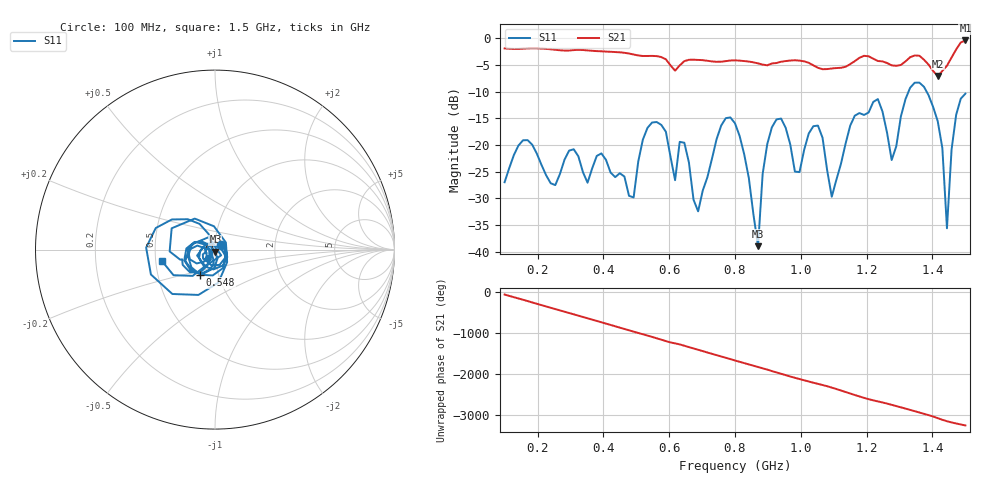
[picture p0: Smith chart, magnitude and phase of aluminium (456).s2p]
! NanoVNA-App
! Date: 2025-09-25 14:58:50
! Start: 100MHz Stop: 1,5GHz Points: 101
! S-Parameter data: F S11 S21 S12 S22
# Hz S RI R 50
!  Frequency  S11_Real  S11_Imag  S21_Real  S21_Imag  S12_Real  S12_Imag  S22_Real  S22_Imag
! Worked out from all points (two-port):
!   101 points, 100 MHz to 1.5 GHz, reference 50 ohm
!   highest |S21| = -0.43 dB at 1.5 GHz (marker M1); lowest = -7.1 dB at 1.416 GHz (marker M2)
!   |S21| within 3 dB of the highest: start of sweep to 567.6 MHz; 1.46 GHz to end of sweep (the widest 2 of 4)
!   lowest |S11| = -38.9 dB at 870 MHz (marker M3), VSWR 1.02, Z = 50.2 - j1.11 ohm
!   |S11| at or under -10 dB: start of sweep to 1.327 GHz; 1.382 GHz to end of sweep
!   S12 and S22 are empty: the file has one direction only
!   S11 on the Smith chart (normalised r, x): 100 MHz: 1.07, +0.06; 548 MHz: 0.82, -0.24; 1.5 GHz: 0.54, -0.08
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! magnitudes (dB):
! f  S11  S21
! 100 MHz  -27.0  -1.9
! 156 MHz  -19.1  -2.0
! 338 MHz  -25.1  -2.2
! 492 MHz  -29.8  -3.1
! 548 MHz  -15.8  -3.3
! 576 MHz  -16.2  -3.5
! 618 MHz  -26.6  -6.1
! 646 MHz  -19.6  -4.3
! 688 MHz  -32.4  -4.1
! 800 MHz  -15.9  -4.2
! 870 MHz  -38.9  -4.7
! 912 MHz  -16.7  -4.7
! 996 MHz  -25.1  -4.2
! 1.038 GHz  -16.5  -5.1
! 1.094 GHz  -29.7  -5.7
! 1.234 GHz  -11.4  -4.3
! 1.276 GHz  -22.8  -5.1
! 1.346 GHz  -8.3  -3.2
! 1.416 GHz  -15.6  -7.1
! 1.444 GHz  -35.6  -5.2
! 1.472 GHz  -14.3  -2.1
! 1.5 GHz  -10.4  -0.4
